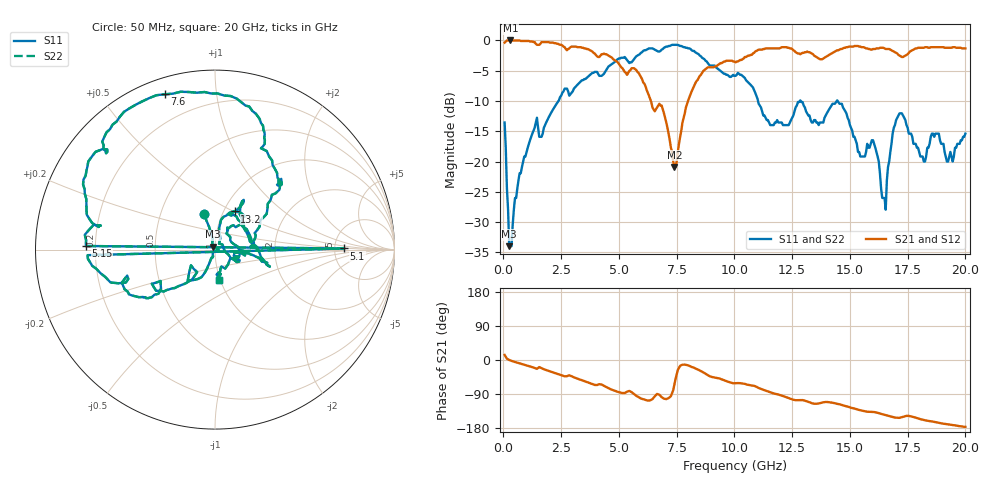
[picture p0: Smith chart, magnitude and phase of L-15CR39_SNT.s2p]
# MHZ S MA R 50
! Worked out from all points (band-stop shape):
!   400 points, 50 MHz to 20 GHz, reference 50 ohm
!   highest |S21| = 0.00 dB at 300 MHz (marker M1); lowest = -20.9 dB at 7.4 GHz (marker M2)
!   |S21| within 3 dB of the highest: start of sweep to 4.73 GHz; 13.84 GHz to end of sweep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
!   lowest |S11| = -34.0 dB at 250 MHz (marker M3), VSWR 1.04, Z = 48.8 + j1.61 ohm
!   |S11| at or under -10 dB: start of sweep to 2.381 GHz; 11.02 GHz to 12.83 GHz (1.809 GHz wide, 15.2 % of centre); 14.47 GHz to end of sweep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
!   |S22| runs from -34.0 to -0.7 dB; largest |S21 - S12| = 0
!   S11 on the Smith chart (normalised r, x): 50 MHz: 0.82, +0.34; 5.1 GHz: 6.14, +0.16; 5.15 GHz: 0.16, +0.01; 7.6 GHz: 0.07, +0.72; 13.2 GHz: 1.13, +0.51; 20 GHz: 0.99, -0.34
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50  0.21 107.6  0.96 13.3  0.96 13.3  0.21 107.6
250  0.02 124.7  1 0.0  1 0.0  0.02 124.7
300  0.02 0.0  1 -1.2  1 -1.2  0.02 0.0
1450  0.23 -131.3  0.92 -23.4  0.92 -23.4  0.23 -131.3
3400  0.47 -144.9  0.87 -53.4  0.87 -53.4  0.47 -144.9
5050  0.71 -177.5  0.62 -85.9  0.62 -85.9  0.71 -177.5
5100  0.72 0.5  0.6 -86.5  0.6 -86.5  0.72 0.5
5150  0.72 178.4  0.59 -87.1  0.59 -87.1  0.72 178.4
6700  0.81 137.8  0.29 -90.6  0.29 -90.6  0.81 137.8
7400  0.92 118.6  0.09 -65.0  0.09 -65.0  0.92 118.6
7600  0.91 108.0  0.14 -20.7  0.14 -20.7  0.91 108.0
8350  0.79 73.2  0.46 -23.5  0.46 -23.5  0.79 73.2
10050  0.51 46.1  0.66 -61.1  0.66 -61.1  0.51 46.1
11550  0.2 5.3  0.86 -85.3  0.86 -85.3  0.2 5.3
13200  0.24 62.5  0.8 -110.2  0.8 -110.2  0.24 62.5
13350  0.21 67.3  0.78 -114.0  0.78 -114.0  0.21 67.3
16000  0.15 -26.6  0.85 -137.2  0.85 -137.2  0.15 -26.6
16550  0.04 56.1  0.85 -145.4  0.85 -145.4  0.04 56.1
16700  0.1 76.2  0.85 -148.1  0.85 -148.1  0.1 76.2
17150  0.25 57.5  0.75 -152.6  0.75 -152.6  0.25 57.5
18200  0.1 31.8  0.87 -158.3  0.87 -158.3  0.1 31.8
20000  0.17 -82.5  0.86 -176.5  0.86 -176.5  0.17 -82.5
